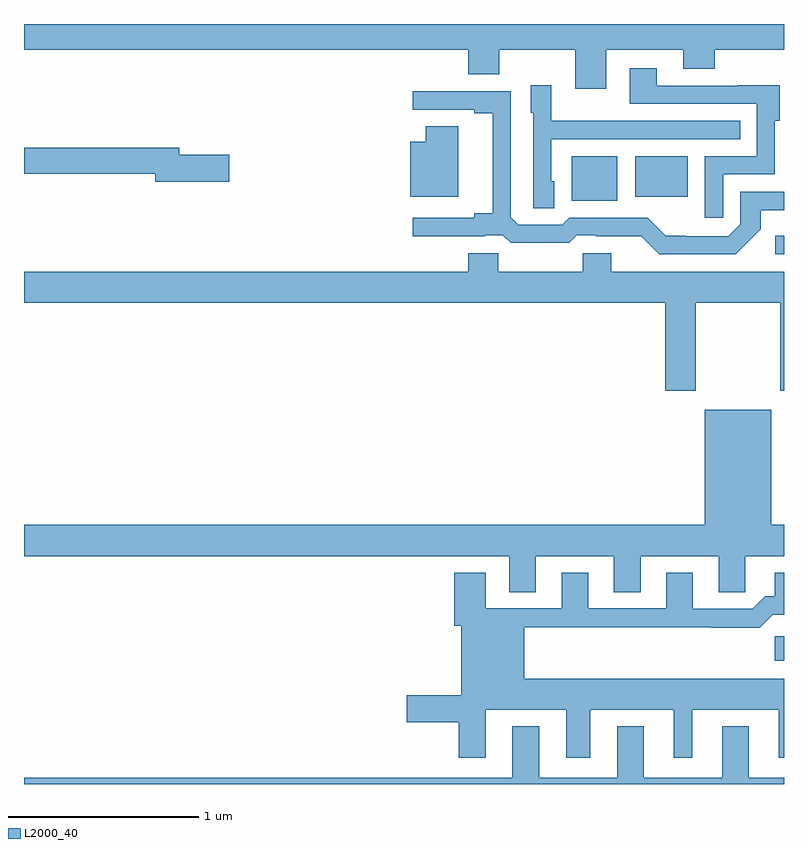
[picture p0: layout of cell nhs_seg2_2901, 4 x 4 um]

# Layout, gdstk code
import gdstk
lib = gdstk.Library(unit=1e-6, precision=1e-09)
def R(c, l, rs):  # rectangles x0, y0, x1, y1
    for r in rs: c.add(gdstk.rectangle(r[:2], r[2:], *l))
def P(c, l, *ps):  # polygons
    for p in ps: c.add(gdstk.Polygon(p, *l))
L2000_40 = (2000, 40)

nhs_seg2_2901 = lib.new_cell('nhs_seg2_2901')
R(nhs_seg2_2901, L2000_40, [(266.952,616.448,267,616.577), (266.955,618.588,267,618.685), (265.883,618.869,266.122,619.105), (266.216,618.89,266.494,619.105)])
P(nhs_seg2_2901, L2000_40, [(266.065,619.664),(266.471,619.664),(266.471,619.565),(266.635,619.565),(266.635,619.664),(267,619.664),(267,619.8),(263,619.8),(263,619.664),(265.337,619.664),(265.337,619.536),(265.501,619.536),(265.501,619.664),(265.901,619.664),(265.901,619.458),(266.065,619.458)],
  [(266.679,619.008),(266.952,619.008),(266.952,619.29),(266.977,619.29),(266.977,619.478),(266.759,619.478),(266.759,619.476),(266.329,619.476),(266.329,619.567),(266.189,619.567),(266.189,619.38),(266.856,619.38),(266.856,619.104),(266.583,619.104),(266.583,618.78),(266.679,618.78)],
  [(265.792,618.972),(265.776,618.972),(265.776,619.194),(266.771,619.194),(266.771,619.29),(266.093,619.29),(266.093,619.291),(265.776,619.291),(265.776,619.477),(265.667,619.477),(265.667,619.332),(265.68,619.332),(265.68,618.829),(265.792,618.829)],
  [(266.877,618.719),(266.877,618.821),(267,618.821),(267,618.918),(266.769,618.918),(266.769,618.747),(266.706,618.684),(266.482,618.684),(266.482,618.686),(266.378,618.686),(266.283,618.78),(265.869,618.78),(265.833,618.744),(265.602,618.744),(265.563,618.783),(265.563,619.446),(265.047,619.446),(265.047,619.35),(265.37,619.35),(265.37,619.33),(265.466,619.33),(265.466,618.803),(265.37,618.803),(265.37,618.78),(265.047,618.78),(265.047,618.683),(265.427,618.683),(265.427,618.687),(265.521,618.687),(265.561,618.648),(265.869,618.648),(265.908,618.687),(266.008,618.687),(266.008,618.683),(266.249,618.683),(266.343,618.588),(266.746,618.588)],
  [(265.285,619.261),(265.115,619.261),(265.115,619.18),(265.034,619.18),(265.034,618.89),(265.285,618.89)],
  [(264.079,619.112),(263.818,619.112),(263.818,619.148),(263,619.148),(263,619.012),(263.69,619.012),(263.69,618.97),(264.079,618.97)],
  [(266.535,618.332),(266.98,618.332),(266.98,617.871),(267,617.871),(267,618.496),(266.092,618.496),(266.092,618.594),(265.942,618.594),(265.942,618.496),(265.497,618.496),(265.497,618.594),(265.337,618.594),(265.337,618.496),(263,618.496),(263,618.332),(266.375,618.332),(266.375,617.871),(266.535,617.871)],
  [(266.582,617.164),(263,617.164),(263,617),(265.553,617),(265.553,616.81),(265.693,616.81),(265.693,617),(266.105,617),(266.105,616.81),(266.245,616.81),(266.245,617),(266.657,617),(266.657,616.81),(266.796,616.81),(266.796,617),(267,617),(267,617.164),(266.932,617.164),(266.932,617.77),(266.582,617.77)],
  [(265.429,616.19),(265.853,616.19),(265.853,615.939),(265.981,615.939),(265.981,616.19),(266.42,616.19),(266.42,615.939),(266.518,615.939),(266.518,616.19),(266.972,616.19),(266.972,615.939),(267,615.939),(267,616.354),(265.633,616.354),(265.633,616.624),(266.617,616.624),(266.617,616.622),(266.873,616.622),(266.942,616.691),(267,616.691),(267,616.912),(266.951,616.912),(266.951,616.789),(266.902,616.789),(266.835,616.722),(266.521,616.722),(266.521,616.912),(266.381,616.912),(266.381,616.725),(265.969,616.725),(265.969,616.912),(265.829,616.912),(265.829,616.725),(265.429,616.725),(265.429,616.912),(265.265,616.912),(265.265,616.632),(265.301,616.632),(265.301,616.268),(265.014,616.268),(265.014,616.126),(265.289,616.126),(265.289,615.939),(265.429,615.939)],
  [(267,615.832),(266.815,615.832),(266.815,616.105),(266.675,616.105),(266.675,615.832),(266.263,615.832),(266.263,616.105),(266.123,616.105),(266.123,615.832),(265.711,615.832),(265.711,616.105),(265.571,616.105),(265.571,615.832),(263,615.832),(263,615.8),(267,615.8)])

lib.write_gds('nhs_seg2_2901.gds')
